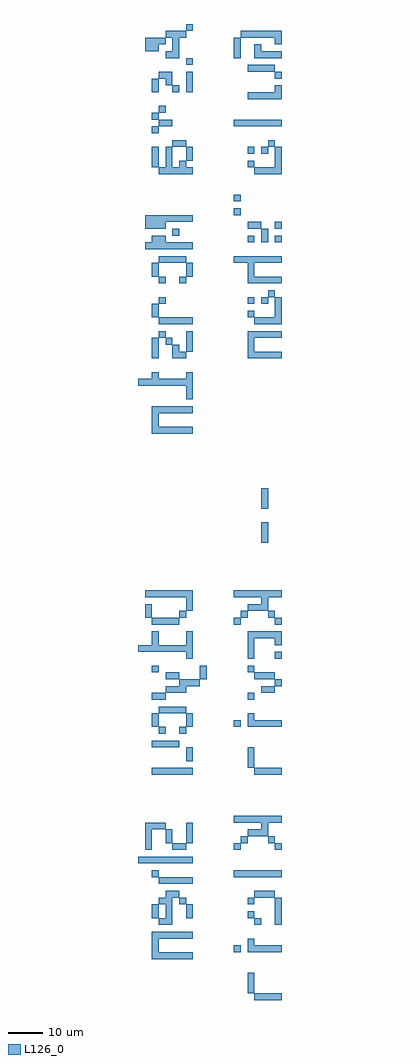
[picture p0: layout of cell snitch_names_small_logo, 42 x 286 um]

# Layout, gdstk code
import gdstk
lib = gdstk.Library(unit=1e-6, precision=1e-09)
def R(c, l, rs):  # rectangles x0, y0, x1, y1
    for r in rs: c.add(gdstk.rectangle(r[:2], r[2:], *l))
def P(c, l, *ps):  # polygons
    for p in ps: c.add(gdstk.Polygon(p, *l))
L126_0 = (126, 0)

snitch_names_small_logo = lib.new_cell('snitch_names_small_logo')
R(snitch_names_small_logo, L126_0, [(38,26,40,28), (38,48,52,50), (10,52,26,54), (14,78,26,80), (24,82,26,86), (14,86,22,88), (38,92,40,94), (42,100,44,102), (14,108,16,110), (50,112,52,114), (46,146,48,152), (46,156,48,162), (42,216,44,218), (42,234,44,236), (50,234,52,236), (20,236,22,238), (50,238,52,240), (38,242,40,244), (38,246,40,248), (42,260,44,262), (38,268,52,270), (24,278,26,284), (24,286,26,288)])
P(snitch_names_small_logo, L126_0, [(44,12),(44,14),(42,14),(42,20),(44,20),(44,14),(52,14),(52,12)],
  [(42,26),(42,30),(44,30),(44,28),(52,28),(52,26)],
  [(14,24),(14,32),(26,32),(26,30),(16,30),(16,26),(26,26),(26,24)],
  [(44,34),(44,36),(42,36),(42,38),(44,38),(44,36),(46,36),(46,34)],
  [(16,34),(16,36),(14,36),(14,40),(16,40),(16,36),(18,36),(18,40),(16,40),(16,42),(18,42),(18,44),(22,44),(22,42),(24,42),(24,40),(26,40),(26,36),(24,36),(24,40),(22,40),(22,42),(20,42),(20,34)],
  [(50,34),(50,42),(44,42),(44,40),(42,40),(42,42),(44,42),(44,44),(50,44),(50,42),(52,42),(52,34)],
  [(16,46),(16,48),(14,48),(14,50),(16,50),(16,48),(26,48),(26,46)],
  [(12,56),(12,64),(18,64),(18,62),(20,62),(20,58),(24,58),(24,64),(26,64),(26,58),(24,58),(24,56),(20,56),(20,58),(18,58),(18,62),(14,62),(14,56)],
  [(38,56),(38,58),(40,58),(40,60),(42,60),(42,62),(46,62),(46,64),(38,64),(38,66),(52,66),(52,64),(48,64),(48,60),(50,60),(50,58),(52,58),(52,56),(50,56),(50,58),(48,58),(48,60),(42,60),(42,58),(40,58),(40,56)],
  [(44,78),(44,80),(42,80),(42,86),(44,86),(44,80),(52,80),(52,78)],
  [(42,92),(42,96),(44,96),(44,94),(52,94),(52,92)],
  [(16,90),(16,92),(14,92),(14,96),(16,96),(16,98),(24,98),(24,96),(26,96),(26,92),(24,92),(24,90),(22,90),(22,92),(24,92),(24,96),(16,96),(16,92),(18,92),(18,90)],
  [(14,100),(14,102),(18,102),(18,104),(22,104),(22,106),(18,106),(18,108),(22,108),(22,106),(28,106),(28,110),(30,110),(30,106),(28,106),(28,104),(24,104),(24,102),(18,102),(18,100)],
  [(46,102),(46,104),(50,104),(50,106),(44,106),(44,108),(42,108),(42,110),(44,110),(44,108),(50,108),(50,106),(52,106),(52,104),(50,104),(50,102)],
  [(24,112),(24,114),(10,114),(10,116),(14,116),(14,120),(16,120),(16,116),(24,116),(24,120),(26,120),(26,112)],
  [(42,112),(42,120),(52,120),(52,116),(50,116),(50,118),(44,118),(44,112)],
  [(14,122),(14,124),(12,124),(12,128),(14,128),(14,124),(22,124),(22,126),(24,126),(24,130),(12,130),(12,132),(26,132),(26,126),(24,126),(24,124),(22,124),(22,122)],
  [(38,122),(38,124),(40,124),(40,126),(42,126),(42,128),(46,128),(46,130),(38,130),(38,132),(52,132),(52,130),(48,130),(48,126),(50,126),(50,124),(52,124),(52,122),(50,122),(50,124),(48,124),(48,126),(42,126),(42,124),(40,124),(40,122)],
  [(14,178),(14,186),(26,186),(26,184),(16,184),(16,180),(26,180),(26,178)],
  [(24,188),(24,192),(10,192),(10,194),(14,194),(14,196),(16,196),(16,194),(24,194),(24,196),(26,196),(26,188)],
  [(14,200),(14,206),(16,206),(16,208),(18,208),(18,206),(20,206),(20,204),(22,204),(22,202),(24,202),(24,208),(26,208),(26,202),(24,202),(24,200),(20,200),(20,204),(18,204),(18,206),(16,206),(16,200)],
  [(42,200),(42,208),(52,208),(52,206),(44,206),(44,202),(52,202),(52,200)],
  [(16,210),(16,212),(14,212),(14,216),(16,216),(16,218),(18,218),(18,216),(16,216),(16,212),(26,212),(26,210)],
  [(44,210),(44,212),(42,212),(42,214),(44,214),(44,212),(50,212),(50,218),(48,218),(48,216),(46,216),(46,218),(48,218),(48,220),(50,220),(50,218),(52,218),(52,210)],
  [(16,222),(16,224),(14,224),(14,228),(16,228),(16,230),(24,230),(24,228),(26,228),(26,224),(24,224),(24,222),(22,222),(22,224),(24,224),(24,228),(16,228),(16,224),(18,224),(18,222)],
  [(42,222),(42,228),(38,228),(38,230),(52,230),(52,228),(44,228),(44,224),(52,224),(52,222)],
  [(12,232),(12,234),(14,234),(14,236),(18,236),(18,234),(26,234),(26,232)],
  [(46,234),(46,238),(42,238),(42,240),(46,240),(46,238),(48,238),(48,234)],
  [(12,238),(12,242),(26,242),(26,240),(18,240),(18,238)],
  [(16,254),(16,256),(14,256),(14,262),(16,262),(16,256),(18,256),(18,262),(20,262),(20,256),(22,256),(22,258),(24,258),(24,262),(20,262),(20,264),(24,264),(24,262),(26,262),(26,258),(24,258),(24,256),(26,256),(26,254)],
  [(44,254),(44,256),(42,256),(42,258),(44,258),(44,256),(50,256),(50,262),(48,262),(48,260),(46,260),(46,262),(48,262),(48,264),(50,264),(50,262),(52,262),(52,254)],
  [(14,266),(14,268),(16,268),(16,270),(14,270),(14,272),(16,272),(16,274),(18,274),(18,272),(16,272),(16,270),(20,270),(20,268),(16,268),(16,266)],
  [(42,276),(42,278),(50,278),(50,280),(52,280),(52,276)],
  [(14,278),(14,282),(16,282),(16,284),(20,284),(20,280),(22,280),(22,278),(20,278),(20,280),(18,280),(18,282),(16,282),(16,278)],
  [(50,282),(50,284),(42,284),(42,286),(50,286),(50,284),(52,284),(52,282)],
  [(44,288),(44,292),(46,292),(46,290),(52,290),(52,288)],
  [(38,288),(38,294),(40,294),(40,296),(52,296),(52,292),(50,292),(50,294),(40,294),(40,288)],
  [(18,288),(18,290),(20,290),(20,294),(18,294),(18,292),(16,292),(16,290),(12,290),(12,294),(18,294),(18,296),(24,296),(24,298),(26,298),(26,296),(24,296),(24,294),(22,294),(22,288)])

lib.write_gds('snitch_names_small_logo.gds')
